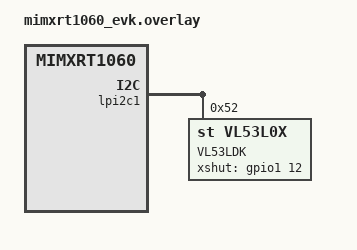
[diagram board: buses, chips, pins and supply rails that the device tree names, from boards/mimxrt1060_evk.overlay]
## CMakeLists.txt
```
# SPDX-License-Identifier: Apache-2.0

cmake_minimum_required(VERSION 3.20.0)
find_package(Zephyr REQUIRED HINTS $ENV{ZEPHYR_BASE})
project(nxpbcm)

target_sources(app PRIVATE src/main.c)
```

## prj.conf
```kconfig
CONFIG_GPIO=y
CONFIG_BUILD_OUTPUT_HEX=y
CONFIG_LOG=y
CONFIG_UART_CONSOLE=y
CONFIG_CONSOLE=y
CONFIG_I2C=y
CONFIG_SENSOR=y
CONFIG_LOG_DEFAULT_LEVEL=3
CONFIG_SENSOR_LOG_LEVEL_DBG=y
CONFIG_VL53L0X=y
#CONFIG_VL53L0X_PROXIMITY_THRESHOLD=100
#CONFIG_VL53L0X_RECONFIGURE_ADDRESS=y
```

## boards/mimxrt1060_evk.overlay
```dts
&lpi2c1 {
    status = "okay";
    pinctrl-0 = <&pinmux_lpi2c1>;
    pinctrl-names = "default";

    vl53ldk: vl53ldk@52 {
        compatible = "st,vl53l0x";
        reg = <0x52>;
        label = "VL53LDK";
        xshut-gpios = <&gpio1 12 GPIO_ACTIVE_HIGH>; 
    };
};
```

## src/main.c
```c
#include "zephyr/device.h"
#include "zephyr/sys/printk.h"
#include <stdio.h>
#include <zephyr/drivers/gpio.h>
#include <zephyr/drivers/i2c.h>
#include <zephyr/kernel.h>




/* 1000 msec = 1 sec */
#define SLEEP_TIME_MS 3000

/* The devicetree node identifier for the "led0" alias. */
#define LED0_NODE DT_ALIAS(led0)


/*
 * A build error on this line means your board is unsupported.
 * See the sample documentation for information on how to fix this.
 */
static const struct gpio_dt_spec led = GPIO_DT_SPEC_GET(LED0_NODE, gpios);


int main(void) {
  int ret;
  bool led_state = true;

  if (!gpio_is_ready_dt(&led)) {
    return 0;
  }

  ret = gpio_pin_configure_dt(&led, GPIO_OUTPUT_ACTIVE);
  if (ret < 0) {
    return 0;
  }

  /*I2c*/ 
  //use device ready to check device 
  // const struct device *vl53ldk_dev = device_get_binding("VL53LDK");
  // if (!vl53ldk_dev) {
  //     printf("Failed to get VL53LDK device \n");
  //     return 0;
  // }
  // printf("got VL53LDK device \n");

  // uint8_t reg_addr = 0xC0;
  // uint8_t reg_value;

  // ret = i2c_write_read(vl53ldk_dev, 0x52, &reg_addr, sizeof(reg_addr), &reg_value, sizeof(reg_value));
  
  // if (ret != 0) {
  //    printf("I2C write_read failed with error %d\n", ret);
  // } else {
  //    printf("Data read: 0x%02x \n", reg_value);
  // }

   
  /*End I2c */

  while (1) {
    ret = gpio_pin_toggle_dt(&led);
    if (ret < 0) {
      return 0;
    }

    led_state = !led_state;
    printk("LED state: %s\n", led_state ? "ON" : "OFF");
    k_msleep(SLEEP_TIME_MS);
  }
  return 0;
}
```
